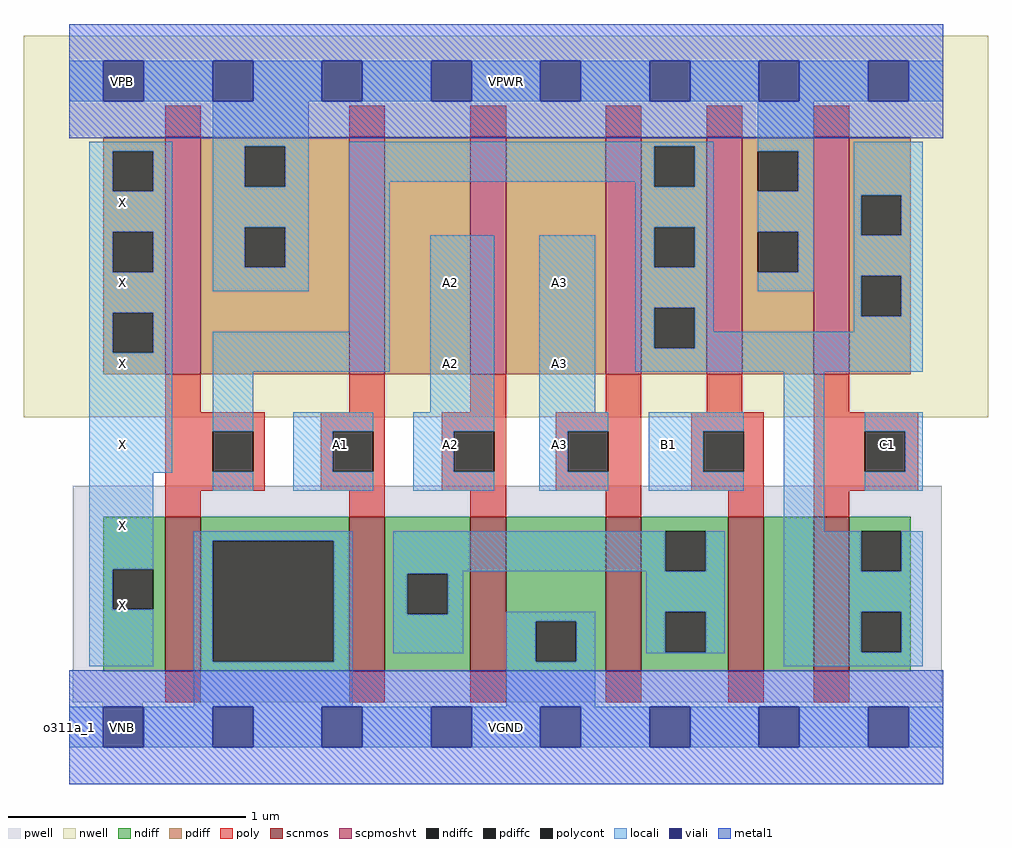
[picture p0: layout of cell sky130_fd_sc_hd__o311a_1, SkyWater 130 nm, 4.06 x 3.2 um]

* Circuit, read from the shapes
.subckt sky130_fd_sc_hd__o311a_1 A1 A2 A3 B1 C1 VGND VNB VPB VPWR X
XM1 VGND n1 X VNB sky130_fd_pr__nfet_01v8 w=0.65 l=0.15
XM2 n2 A1 VGND VNB sky130_fd_pr__nfet_01v8 w=0.65 l=0.15
XM3 VGND A2 n2 VNB sky130_fd_pr__nfet_01v8 w=0.65 l=0.15
XM4 n2 A3 VGND VNB sky130_fd_pr__nfet_01v8 w=0.65 l=0.15
XM5 n3 B1 n2 VNB sky130_fd_pr__nfet_01v8 w=0.65 l=0.15
XM6 n1 C1 n3 VNB sky130_fd_pr__nfet_01v8 w=0.65 l=0.15
XM7 VPWR n1 X VPB sky130_fd_pr__pfet_01v8_hvt w=1 l=0.15
XM8 n4 A1 VPWR VPB sky130_fd_pr__pfet_01v8_hvt w=1 l=0.15
XM9 n5 A2 n4 VPB sky130_fd_pr__pfet_01v8_hvt w=1 l=0.15
XM10 n1 A3 n5 VPB sky130_fd_pr__pfet_01v8_hvt w=1 l=0.15
XM11 VPWR B1 n1 VPB sky130_fd_pr__pfet_01v8_hvt w=1 l=0.15
XM12 n1 C1 VPWR VPB sky130_fd_pr__pfet_01v8_hvt w=1 l=0.15
.ends

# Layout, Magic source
magic
tech sky130B
magscale 1 2
<< nwell >>
rect -38 261 774 582
<< pwell >>
rect 3 21 735 203
rect 28 -17 62 21
<< scnmos >>
rect 81 47 111 177
rect 236 47 266 177
rect 338 47 368 177
rect 452 47 482 177
rect 555 47 585 177
rect 627 47 657 177
<< scpmoshvt >>
rect 81 297 111 497
rect 236 297 266 497
rect 338 297 368 497
rect 452 297 482 497
rect 537 297 567 497
rect 627 297 657 497
<< ndiff >>
rect 29 133 81 177
rect 29 99 37 133
rect 71 99 81 133
rect 29 47 81 99
rect 111 157 236 177
rect 111 55 121 157
rect 223 55 236 157
rect 111 47 236 55
rect 266 129 338 177
rect 266 95 285 129
rect 319 95 338 129
rect 266 47 338 95
rect 368 89 452 177
rect 368 55 393 89
rect 427 55 452 89
rect 368 47 452 55
rect 482 165 555 177
rect 482 131 502 165
rect 536 131 555 165
rect 482 97 555 131
rect 482 63 502 97
rect 536 63 555 97
rect 482 47 555 63
rect 585 47 627 177
rect 657 165 709 177
rect 657 131 667 165
rect 701 131 709 165
rect 657 97 709 131
rect 657 63 667 97
rect 701 63 709 97
rect 657 47 709 63
<< pdiff >>
rect 29 485 81 497
rect 29 451 37 485
rect 71 451 81 485
rect 29 417 81 451
rect 29 383 37 417
rect 71 383 81 417
rect 29 349 81 383
rect 29 315 37 349
rect 71 315 81 349
rect 29 297 81 315
rect 111 489 236 497
rect 111 455 148 489
rect 182 455 236 489
rect 111 421 236 455
rect 111 387 148 421
rect 182 387 236 421
rect 111 297 236 387
rect 266 297 338 497
rect 368 297 452 497
rect 482 489 537 497
rect 482 455 493 489
rect 527 455 537 489
rect 482 421 537 455
rect 482 387 493 421
rect 527 387 537 421
rect 482 353 537 387
rect 482 319 493 353
rect 527 319 537 353
rect 482 297 537 319
rect 567 485 627 497
rect 567 451 580 485
rect 614 451 627 485
rect 567 417 627 451
rect 567 383 580 417
rect 614 383 627 417
rect 567 297 627 383
rect 657 448 709 497
rect 657 414 667 448
rect 701 414 709 448
rect 657 380 709 414
rect 657 346 667 380
rect 701 346 709 380
rect 657 297 709 346
<< ndiffc >>
rect 37 99 71 133
rect 121 55 223 157
rect 285 95 319 129
rect 393 55 427 89
rect 502 131 536 165
rect 502 63 536 97
rect 667 131 701 165
rect 667 63 701 97
<< pdiffc >>
rect 37 451 71 485
rect 37 383 71 417
rect 37 315 71 349
rect 148 455 182 489
rect 148 387 182 421
rect 493 455 527 489
rect 493 387 527 421
rect 493 319 527 353
rect 580 451 614 485
rect 580 383 614 417
rect 667 414 701 448
rect 667 346 701 380
<< poly >>
rect 81 497 111 523
rect 236 497 266 523
rect 338 497 368 523
rect 452 497 482 523
rect 537 497 567 523
rect 627 497 657 523
rect 81 265 111 297
rect 236 265 266 297
rect 338 265 368 297
rect 452 265 482 297
rect 537 265 567 297
rect 627 265 657 297
rect 81 249 165 265
rect 81 215 121 249
rect 155 215 165 249
rect 81 199 165 215
rect 212 249 266 265
rect 212 215 222 249
rect 256 215 266 249
rect 212 199 266 215
rect 314 249 368 265
rect 314 215 324 249
rect 358 215 368 249
rect 314 199 368 215
rect 410 249 482 265
rect 410 215 420 249
rect 454 215 482 249
rect 410 199 482 215
rect 524 249 585 265
rect 524 215 534 249
rect 568 215 585 249
rect 524 199 585 215
rect 81 177 111 199
rect 236 177 266 199
rect 338 177 368 199
rect 452 177 482 199
rect 555 177 585 199
rect 627 249 715 265
rect 627 215 670 249
rect 704 215 715 249
rect 627 199 715 215
rect 627 177 657 199
rect 81 21 111 47
rect 236 21 266 47
rect 338 21 368 47
rect 452 21 482 47
rect 555 21 585 47
rect 627 21 657 47
<< polycont >>
rect 121 215 155 249
rect 222 215 256 249
rect 324 215 358 249
rect 420 215 454 249
rect 534 215 568 249
rect 670 215 704 249
<< locali >>
rect 0 527 29 561
rect 63 527 121 561
rect 155 527 213 561
rect 247 527 305 561
rect 339 527 397 561
rect 431 527 489 561
rect 523 527 581 561
rect 615 527 673 561
rect 707 527 736 561
rect 17 485 87 493
rect 17 451 37 485
rect 71 451 87 485
rect 17 417 87 451
rect 17 383 37 417
rect 71 383 87 417
rect 17 349 87 383
rect 121 489 202 527
rect 121 455 148 489
rect 182 455 202 489
rect 121 421 202 455
rect 121 387 148 421
rect 182 387 202 421
rect 121 367 202 387
rect 236 489 543 493
rect 236 459 493 489
rect 17 315 37 349
rect 71 315 87 349
rect 236 333 270 459
rect 477 455 493 459
rect 527 455 543 489
rect 477 421 543 455
rect 17 214 87 315
rect 121 299 270 333
rect 121 249 155 299
rect 304 265 358 414
rect 17 133 71 214
rect 121 199 155 215
rect 189 249 256 265
rect 189 215 222 249
rect 189 199 256 215
rect 290 249 358 265
rect 290 215 324 249
rect 290 199 358 215
rect 396 265 443 414
rect 477 387 493 421
rect 527 387 543 421
rect 477 353 543 387
rect 580 485 627 527
rect 614 451 627 485
rect 580 417 627 451
rect 614 383 627 417
rect 580 367 627 383
rect 661 448 719 493
rect 661 414 667 448
rect 701 414 719 448
rect 661 380 719 414
rect 477 319 493 353
rect 527 333 543 353
rect 661 346 667 380
rect 701 346 719 380
rect 661 333 719 346
rect 527 319 719 333
rect 477 299 719 319
rect 396 249 454 265
rect 396 215 420 249
rect 396 199 454 215
rect 488 249 568 265
rect 488 215 534 249
rect 488 199 568 215
rect 602 165 636 299
rect 670 249 719 265
rect 704 215 719 249
rect 670 199 719 215
rect 17 99 37 133
rect 17 51 71 99
rect 105 157 239 165
rect 105 55 121 157
rect 223 55 239 157
rect 273 131 502 165
rect 536 131 552 165
rect 273 129 332 131
rect 273 95 285 129
rect 319 95 332 129
rect 486 97 552 131
rect 273 62 332 95
rect 368 89 443 97
rect 105 17 239 55
rect 368 55 393 89
rect 427 55 443 89
rect 486 63 502 97
rect 536 63 552 97
rect 486 62 552 63
rect 602 131 667 165
rect 701 131 719 165
rect 602 97 719 131
rect 602 63 667 97
rect 701 63 719 97
rect 368 17 443 55
rect 602 51 719 63
rect 0 -17 29 17
rect 63 -17 121 17
rect 155 -17 213 17
rect 247 -17 305 17
rect 339 -17 397 17
rect 431 -17 489 17
rect 523 -17 581 17
rect 615 -17 673 17
rect 707 -17 736 17
<< viali >>
rect 29 527 63 561
rect 121 527 155 561
rect 213 527 247 561
rect 305 527 339 561
rect 397 527 431 561
rect 489 527 523 561
rect 581 527 615 561
rect 673 527 707 561
rect 29 -17 63 17
rect 121 -17 155 17
rect 213 -17 247 17
rect 305 -17 339 17
rect 397 -17 431 17
rect 489 -17 523 17
rect 581 -17 615 17
rect 673 -17 707 17
<< metal1 >>
rect 0 561 736 592
rect 0 527 29 561
rect 63 527 121 561
rect 155 527 213 561
rect 247 527 305 561
rect 339 527 397 561
rect 431 527 489 561
rect 523 527 581 561
rect 615 527 673 561
rect 707 527 736 561
rect 0 496 736 527
rect 0 17 736 48
rect 0 -17 29 17
rect 63 -17 121 17
rect 155 -17 213 17
rect 247 -17 305 17
rect 339 -17 397 17
rect 431 -17 489 17
rect 523 -17 581 17
rect 615 -17 673 17
rect 707 -17 736 17
rect 0 -48 736 -17
<< labels >>
flabel locali s 28 221 62 255 0 FreeSans 200 0 0 0 X
port 10 nsew signal output
flabel locali s 212 221 246 255 0 FreeSans 200 0 0 0 A1
port 1 nsew signal input
flabel locali s 304 221 338 255 0 FreeSans 200 0 0 0 A2
port 2 nsew signal input
flabel locali s 396 221 430 255 0 FreeSans 200 0 0 0 A3
port 3 nsew signal input
flabel locali s 488 221 522 255 0 FreeSans 200 0 0 0 B1
port 4 nsew signal input
flabel locali s 672 221 706 255 0 FreeSans 200 0 0 0 C1
port 5 nsew signal input
flabel locali s 28 289 62 323 0 FreeSans 200 0 0 0 X
port 10 nsew signal output
flabel locali s 28 357 62 391 0 FreeSans 200 0 0 0 X
port 10 nsew signal output
flabel locali s 28 425 62 459 0 FreeSans 200 0 0 0 X
port 10 nsew signal output
flabel locali s 28 153 62 187 0 FreeSans 200 0 0 0 X
port 10 nsew signal output
flabel locali s 28 85 62 119 0 FreeSans 200 0 0 0 X
port 10 nsew signal output
flabel locali s 304 289 338 323 0 FreeSans 200 0 0 0 A2
port 2 nsew signal input
flabel locali s 396 289 430 323 0 FreeSans 200 0 0 0 A3
port 3 nsew signal input
flabel locali s 396 357 430 391 0 FreeSans 200 0 0 0 A3
port 3 nsew signal input
flabel locali s 304 357 338 391 0 FreeSans 200 0 0 0 A2
port 2 nsew signal input
flabel nwell s 28 527 62 561 0 FreeSans 200 0 0 0 VPB
port 8 nsew power bidirectional
flabel pwell s 28 -17 62 17 0 FreeSans 200 0 0 0 VNB
port 7 nsew ground bidirectional
flabel metal1 s 28 -17 62 17 0 FreeSans 200 0 0 0 VGND
port 6 nsew ground bidirectional abutment
flabel metal1 s 28 527 62 561 0 FreeSans 200 0 0 0 VPWR
port 9 nsew power bidirectional abutment
rlabel comment s 0 0 0 0 4 o311a_1
rlabel metal1 s 0 -48 736 48 1 VGND
port 6 nsew ground bidirectional abutment
rlabel metal1 s 0 496 736 592 1 VPWR
port 9 nsew power bidirectional abutment
<< properties >>
string FIXED_BBOX 0 0 736 544
string GDS_END 945004
string GDS_FILE $PDKPATH/libs.ref/sky130_fd_sc_hd/gds/sky130_fd_sc_hd.gds
string GDS_START 937388
string LEFclass CORE
string LEFsite unithd
string LEFsymmetry X Y R90
string path 0.000 2.720 3.680 2.720 
<< end >>
